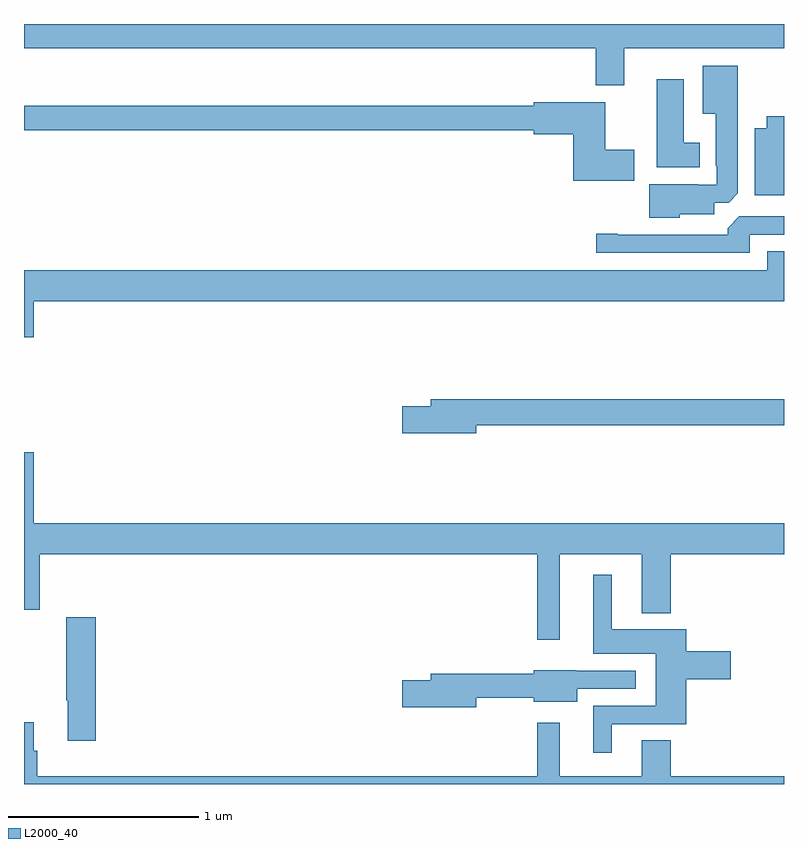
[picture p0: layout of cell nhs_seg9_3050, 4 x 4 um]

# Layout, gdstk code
import gdstk
lib = gdstk.Library(unit=1e-6, precision=1e-09)
def P(c, l, *ps):  # polygons
    for p in ps: c.add(gdstk.Polygon(p, *l))
L2000_40 = (2000, 40)

nhs_seg9_3050 = lib.new_cell('nhs_seg9_3050')
P(nhs_seg9_3050, L2000_40, [(288.16,1244.372),(289,1244.372),(289,1244.5),(285,1244.5),(285,1244.372),(288.008,1244.372),(288.008,1244.178),(288.16,1244.178)],
  [(288.45,1243.499),(288.634,1243.499),(288.634,1243.56),(288.708,1243.56),(288.757,1243.609),(288.757,1244.281),(288.572,1244.281),(288.572,1244.027),(288.641,1244.027),(288.641,1243.753),(288.645,1243.753),(288.645,1243.653),(288.545,1243.653),(288.545,1243.657),(288.29,1243.657),(288.29,1243.481),(288.45,1243.481)],
  [(288.556,1243.876),(288.472,1243.876),(288.472,1244.209),(288.329,1244.209),(288.329,1243.745),(288.556,1243.745)],
  [(288.211,1243.839),(288.058,1243.839),(288.058,1244.089),(287.684,1244.089),(287.684,1244.071),(285,1244.071),(285,1243.942),(287.684,1243.942),(287.684,1243.919),(287.891,1243.919),(287.891,1243.676),(288.211,1243.676)],
  [(289,1244.014),(288.908,1244.014),(288.908,1243.951),(288.845,1243.951),(288.845,1243.598),(289,1243.598)],
  [(288.819,1243.392),(289,1243.392),(289,1243.488),(288.765,1243.488),(288.704,1243.426),(288.704,1243.392),(288.124,1243.392),(288.124,1243.397),(288.012,1243.397),(288.012,1243.296),(288.819,1243.296)],
  [(285.052,1243.04),(289,1243.04),(289,1243.303),(288.911,1243.303),(288.911,1243.204),(285,1243.204),(285,1242.852),(285.052,1242.852)],
  [(287.38,1242.388),(289,1242.388),(289,1242.524),(287.141,1242.524),(287.141,1242.488),(286.992,1242.488),(286.992,1242.346),(287.38,1242.346)],
  [(285.052,1242.247),(285,1242.247),(285,1241.418),(285.083,1241.418),(285.083,1241.708),(287.7,1241.708),(287.7,1241.259),(287.821,1241.259),(287.821,1241.708),(288.251,1241.708),(288.251,1241.399),(288.404,1241.399),(288.404,1241.708),(289,1241.708),(289,1241.872),(285.052,1241.872)],
  [(288.094,1240.815),(288.485,1240.815),(288.485,1241.051),(288.721,1241.051),(288.721,1241.198),(288.485,1241.198),(288.485,1241.314),(288.094,1241.314),(288.094,1241.602),(287.996,1241.602),(287.996,1241.186),(288.326,1241.186),(288.326,1240.911),(287.996,1240.911),(287.996,1240.665),(288.094,1240.665)],
  [(285.377,1241.377),(285.223,1241.377),(285.223,1240.94),(285.23,1240.94),(285.23,1240.728),(285.377,1240.728)],
  [(287.38,1240.953),(287.684,1240.953),(287.684,1240.934),(287.911,1240.934),(287.911,1241.001),(288.22,1241.001),(288.22,1241.097),(287.907,1241.097),(287.907,1241.098),(287.684,1241.098),(287.684,1241.081),(287.141,1241.081),(287.141,1241.045),(286.992,1241.045),(286.992,1240.903),(287.38,1240.903)],
  [(289,1240.54),(288.404,1240.54),(288.404,1240.73),(288.251,1240.73),(288.251,1240.54),(287.821,1240.54),(287.821,1240.822),(287.7,1240.822),(287.7,1240.54),(285.071,1240.54),(285.071,1240.674),(285.052,1240.674),(285.052,1240.825),(285,1240.825),(285,1240.5),(289,1240.5)])

lib.write_gds('nhs_seg9_3050.gds')
